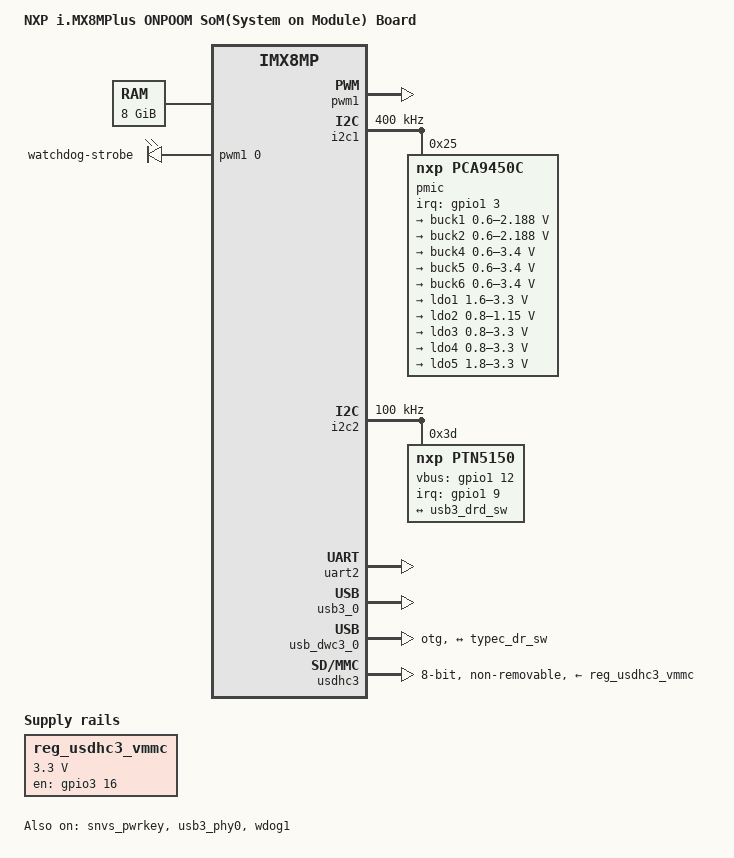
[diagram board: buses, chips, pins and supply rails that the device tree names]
// SPDX-License-Identifier: (GPL-2.0+ OR MIT)
/*
 * Copyright 2019 NXP
 * Copyright 2025 ONPOOM
 */

/dts-v1/;

#include <dt-bindings/usb/pd.h>
#include "imx8mp.dtsi"

/ {
	model = "NXP i.MX8MPlus ONPOOM SoM(System on Module) Board";
	compatible = "fsl,imx8mp-evk", "fsl,imx8mp";

	chosen {
		stdout-path = &uart2;
	};

	memory@40000000 {
		device_type = "memory";
		reg = <0x0 0x40000000 0 0xc0000000>,
		      <0x1 0x00000000 0x1 0x40000000>;
	};

	reg_usdhc3_vmmc: regulator-usdhc3 {
		compatible = "regulator-fixed";
		pinctrl-names = "default";
		pinctrl-0 = <&pinctrl_sys_status_led>;
		regulator-name = "VSD3_3V3";
		regulator-min-microvolt = <3300000>;
		regulator-max-microvolt = <3300000>;
		gpio = <&gpio3 16 GPIO_ACTIVE_HIGH>;
		enable-active-high;
		startup-delay-us = <100>;
		off-on-delay-us = <35000>;      /* boot delay */
	};

	pwm-leds {
		compatible = "pwm-leds";

		wdog-strobe {
			label = "watchdog-strobe";
			pwms = <&pwm1 0 200000000>;
			max-brightness = <100>;
		};
	};
};

&A53_0 {
	cpu-supply = <&buck2>;
};

&A53_1 {
	cpu-supply = <&buck2>;
};

&A53_2 {
	cpu-supply = <&buck2>;
};

&A53_3 {
	cpu-supply = <&buck2>;
};

&pwm1 {
	pinctrl-names = "default";
	pinctrl-0 = <&pinctrl_pwm1>;
	status = "okay";
};

&i2c1 {
	clock-frequency = <400000>;
	pinctrl-names = "default";
	pinctrl-0 = <&pinctrl_i2c1>;
	status = "okay";

	pmic@25 {
		compatible = "nxp,pca9450c";
		reg = <0x25>;
		pinctrl-names = "default";
		pinctrl-0 = <&pinctrl_pmic>;
		interrupt-parent = <&gpio1>;
		interrupts = <3 IRQ_TYPE_LEVEL_LOW>;

		regulators {
			buck1: BUCK1 {
				regulator-name = "BUCK1";
				regulator-min-microvolt = <600000>;
				regulator-max-microvolt = <2187500>;
				regulator-boot-on;
				regulator-always-on;
				regulator-ramp-delay = <3125>;
			};

			buck2: BUCK2 {
				regulator-name = "BUCK2";
				regulator-min-microvolt = <600000>;
				regulator-max-microvolt = <2187500>;
				regulator-boot-on;
				regulator-always-on;
				regulator-ramp-delay = <3125>;
				nxp,dvs-run-voltage = <950000>;
				nxp,dvs-standby-voltage = <850000>;
			};

			buck4: BUCK4{
				regulator-name = "BUCK4";
				regulator-min-microvolt = <600000>;
				regulator-max-microvolt = <3400000>;
				regulator-boot-on;
				regulator-always-on;
			};

			buck5: BUCK5{
				regulator-name = "BUCK5";
				regulator-min-microvolt = <600000>;
				regulator-max-microvolt = <3400000>;
				regulator-boot-on;
				regulator-always-on;
			};

			buck6: BUCK6 {
				regulator-name = "BUCK6";
				regulator-min-microvolt = <600000>;
				regulator-max-microvolt = <3400000>;
				regulator-boot-on;
				regulator-always-on;
			};

			ldo1: LDO1 {
				regulator-name = "LDO1";
				regulator-min-microvolt = <1600000>;
				regulator-max-microvolt = <3300000>;
				regulator-boot-on;
				regulator-always-on;
			};

			ldo2: LDO2 {
				regulator-name = "LDO2";
				regulator-min-microvolt = <800000>;
				regulator-max-microvolt = <1150000>;
				regulator-boot-on;
				regulator-always-on;
			};

			ldo3: LDO3 {
				regulator-name = "LDO3";
				regulator-min-microvolt = <800000>;
				regulator-max-microvolt = <3300000>;
				regulator-boot-on;
				regulator-always-on;
			};

			ldo4: LDO4 {
				regulator-name = "LDO4";
				regulator-min-microvolt = <800000>;
				regulator-max-microvolt = <3300000>;
				regulator-boot-on;
				regulator-always-on;
			};

			ldo5: LDO5 {
				regulator-name = "LDO5";
				regulator-min-microvolt = <1800000>;
				regulator-max-microvolt = <3300000>;
				regulator-boot-on;
				regulator-always-on;
			};
		};
	};
};

&i2c2 {
	clock-frequency = <100000>;
	pinctrl-names = "default";
	pinctrl-0 = <&pinctrl_i2c2>;
	status = "okay";

	ptn5150: tcpc@3d {
		compatible = "nxp,ptn5150";
		pinctrl-names = "default", "vbus_gpio";
		pinctrl-0 = <&pinctrl_typec>;
		pinctrl-1 = <&pinctrl_usb0_vbus_gpio>;
		reg = <0x3d>;
		/*
		 * Set gpio1-io9 pin to int pin.
		 * This pin is asserted as active-low.
		 * Refer to PTN5150 datasheet.
		 * Refer to linux doc, "interrupts.txt" for "interrupts" property.
		 * '9' is index on parent, '8' is active-low.
		 */
		interrupt-parent = <&gpio1>;
		//interrupts = <9 8>;
		interrupts = <9 IRQ_TYPE_LEVEL_LOW>;
		vbus-gpios = <&gpio1 12 GPIO_ACTIVE_HIGH>;

		port {
			typec_dr_sw: endpoint {
				remote-endpoint = <&usb3_drd_sw>;
			};
		};
	};
};

&snvs_pwrkey {
	status = "okay";
};

&uart2 {
	/* console */
	pinctrl-names = "default";
	pinctrl-0 = <&pinctrl_uart2>;
	status = "okay";
};

&usb3_phy0 {
	fsl,phy-tx-vref-tune = <0xe>;
	fsl,phy-tx-preemp-amp-tune = <3>;
	fsl,phy-tx-vboost-level = <5>;
	fsl,phy-comp-dis-tune = <7>;
	fsl,pcs-tx-deemph-3p5db = <0x21>;
	fsl,phy-pcs-tx-swing-full = <0x7f>;
	status = "okay";
};

&usb3_0 {
	status = "okay";
};

&usb_dwc3_0 {
	dr_mode = "otg";
	hnp-disable;
	srp-disable;
	adp-disable;
	//usb-role-switch;
	//role-switch-default-mode = "none";
	snps,dis-u1-entry-quirk;
	snps,dis-u2-entry-quirk;
	status = "okay";
	extcon = <&ptn5150>;

	port {
		usb3_drd_sw: endpoint {
			remote-endpoint = <&typec_dr_sw>;
		};
	};
};

&usdhc3 {
	assigned-clocks = <&clk IMX8MP_CLK_USDHC3>;
	assigned-clock-rates = <400000000>;
	pinctrl-names = "default", "state_100mhz", "state_200mhz";
	pinctrl-0 = <&pinctrl_usdhc3>;
	pinctrl-1 = <&pinctrl_usdhc3_100mhz>;
	pinctrl-2 = <&pinctrl_usdhc3_200mhz>;
	vmmc-supply = <&reg_usdhc3_vmmc>;
	bus-width = <8>;
	non-removable;
	status = "okay";
};

&wdog1 {
	pinctrl-names = "default";
	pinctrl-0 = <&pinctrl_wdog>;
	fsl,ext-reset-output;
	status = "okay";
};

&iomuxc {
	pinctrl_sys_status_led: sys-status-ledgrp {
		fsl,pins = <
			MX8MP_IOMUXC_NAND_READY_B__GPIO3_IO16   0x41
		>;
	};

	pinctrl_pwm1: pwm1grp {
		fsl,pins = <
			MX8MP_IOMUXC_GPIO1_IO01__PWM1_OUT	0x116
		>;
	};

	pinctrl_i2c1: i2c1grp {
		fsl,pins = <
			MX8MP_IOMUXC_I2C1_SCL__I2C1_SCL		0x400001c2
			MX8MP_IOMUXC_I2C1_SDA__I2C1_SDA		0x400001c2
		>;
	};

	pinctrl_i2c2: i2c2grp {
		fsl,pins = <
			MX8MP_IOMUXC_I2C2_SCL__I2C2_SCL		0x400001c2
			MX8MP_IOMUXC_I2C2_SDA__I2C2_SDA		0x400001c2
		>;
	};

	pinctrl_usb0_vbus_gpio: reg_usb0_gpiogrp {
		fsl,pins = <
			MX8MP_IOMUXC_GPIO1_IO12__GPIO1_IO12 0x10
		>;
	};

	pinctrl_typec: typecgrp {
		fsl,pins = <
			MX8MP_IOMUXC_GPIO1_IO09__GPIO1_IO09	0x10
		>;
	};

	pinctrl_pmic: pmicgrp {
		fsl,pins = <
			MX8MP_IOMUXC_GPIO1_IO03__GPIO1_IO03	0x000001c0
		>;
	};

	pinctrl_uart2: uart2grp {
		fsl,pins = <
			MX8MP_IOMUXC_UART2_RXD__UART2_DCE_RX	0x140
			MX8MP_IOMUXC_UART2_TXD__UART2_DCE_TX	0x140
		>;
	};

	pinctrl_usdhc3: usdhc3grp {
		fsl,pins = <
			MX8MP_IOMUXC_NAND_WE_B__USDHC3_CLK	0x190
			MX8MP_IOMUXC_NAND_WP_B__USDHC3_CMD	0x1d0
			MX8MP_IOMUXC_NAND_DATA04__USDHC3_DATA0	0x1d0
			MX8MP_IOMUXC_NAND_DATA05__USDHC3_DATA1	0x1d0
			MX8MP_IOMUXC_NAND_DATA06__USDHC3_DATA2	0x1d0
			MX8MP_IOMUXC_NAND_DATA07__USDHC3_DATA3	0x1d0
			MX8MP_IOMUXC_NAND_RE_B__USDHC3_DATA4	0x1d0
			MX8MP_IOMUXC_NAND_CE2_B__USDHC3_DATA5	0x1d0
			MX8MP_IOMUXC_NAND_CE3_B__USDHC3_DATA6	0x1d0
			MX8MP_IOMUXC_NAND_CLE__USDHC3_DATA7	0x1d0
			MX8MP_IOMUXC_NAND_CE1_B__USDHC3_STROBE	0x190
		>;
	};

	pinctrl_usdhc3_100mhz: usdhc3-100mhzgrp {
		fsl,pins = <
			MX8MP_IOMUXC_NAND_WE_B__USDHC3_CLK	0x194
			MX8MP_IOMUXC_NAND_WP_B__USDHC3_CMD	0x1d4
			MX8MP_IOMUXC_NAND_DATA04__USDHC3_DATA0	0x1d4
			MX8MP_IOMUXC_NAND_DATA05__USDHC3_DATA1	0x1d4
			MX8MP_IOMUXC_NAND_DATA06__USDHC3_DATA2	0x1d4
			MX8MP_IOMUXC_NAND_DATA07__USDHC3_DATA3	0x1d4
			MX8MP_IOMUXC_NAND_RE_B__USDHC3_DATA4	0x1d4
			MX8MP_IOMUXC_NAND_CE2_B__USDHC3_DATA5	0x1d4
			MX8MP_IOMUXC_NAND_CE3_B__USDHC3_DATA6	0x1d4
			MX8MP_IOMUXC_NAND_CLE__USDHC3_DATA7	0x1d4
			MX8MP_IOMUXC_NAND_CE1_B__USDHC3_STROBE	0x194
		>;
	};

	pinctrl_usdhc3_200mhz: usdhc3-200mhzgrp {
		fsl,pins = <
			MX8MP_IOMUXC_NAND_WE_B__USDHC3_CLK	0x196
			MX8MP_IOMUXC_NAND_WP_B__USDHC3_CMD	0x1d6
			MX8MP_IOMUXC_NAND_DATA04__USDHC3_DATA0	0x1d6
			MX8MP_IOMUXC_NAND_DATA05__USDHC3_DATA1	0x1d6
			MX8MP_IOMUXC_NAND_DATA06__USDHC3_DATA2	0x1d6
			MX8MP_IOMUXC_NAND_DATA07__USDHC3_DATA3	0x1d6
			MX8MP_IOMUXC_NAND_RE_B__USDHC3_DATA4	0x1d6
			MX8MP_IOMUXC_NAND_CE2_B__USDHC3_DATA5	0x1d6
			MX8MP_IOMUXC_NAND_CE3_B__USDHC3_DATA6	0x1d6
			MX8MP_IOMUXC_NAND_CLE__USDHC3_DATA7	0x1d6
			MX8MP_IOMUXC_NAND_CE1_B__USDHC3_STROBE	0x196
		>;
	};

	pinctrl_wdog: wdoggrp {
		fsl,pins = <
			MX8MP_IOMUXC_GPIO1_IO02__WDOG1_WDOG_B	0x166
		>;
	};
};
